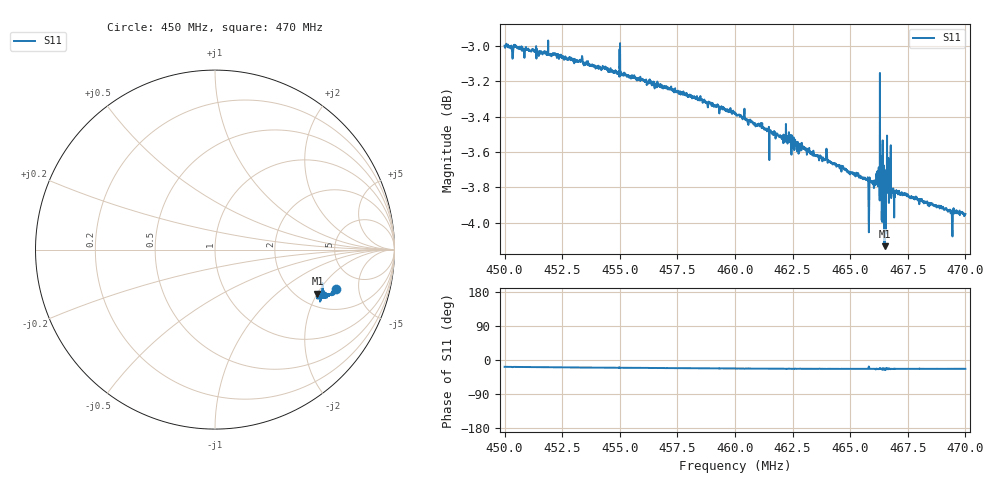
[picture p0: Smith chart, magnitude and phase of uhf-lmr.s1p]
! Calibrated averaged scanner-service zoom
# Hz S RI R 50
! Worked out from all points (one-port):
!   2001 points, 450 MHz to 470 MHz, reference 50 ohm
!   lowest |S11| = -4.1 dB at 466.49 MHz (marker M1), VSWR 4.28, Z = 126 - j100 ohm
!   |S11| at or under -10 dB: nowhere
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4.5e8  0.6734 -0.2189
4.525e8  0.6631 -0.2332
4.55e8  0.6494 -0.2548
4.575e8  0.6391 -0.2521
4.6e8  0.6263 -0.258
4.6229e8  0.6134 -0.2595
4.625e8  0.6127 -0.2607
4.65e8  0.5983 -0.2586
4.6568e8  0.5958 -0.2579
4.6573e8  0.5959 -0.2574
4.6589e8  0.5944 -0.2577
4.6594e8  0.5954 -0.2566
4.6618e8  0.5989 -0.2589
4.6619e8  0.5965 -0.2564
4.6625e8  0.5938 -0.2574
4.6629e8  0.6489 -0.2506
4.6636e8  0.585 -0.2628
4.6645e8  0.6017 -0.2588
4.6649e8  0.5709 -0.2452
4.665e8  0.5981 -0.2521
4.6653e8  0.592 -0.2727
4.6664e8  0.5856 -0.2686
4.6666e8  0.6051 -0.2588
4.6679e8  0.5908 -0.2524
4.6687e8  0.5929 -0.2543
4.675e8  0.5896 -0.2551
4.6935e8  0.5837 -0.2512
4.7e8  0.5833 -0.2498
